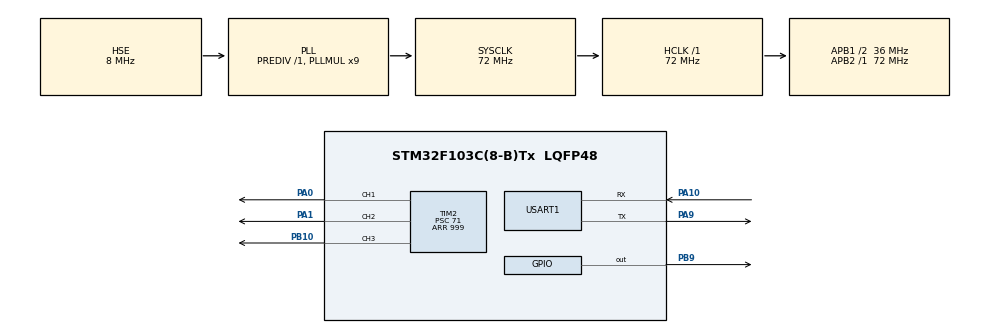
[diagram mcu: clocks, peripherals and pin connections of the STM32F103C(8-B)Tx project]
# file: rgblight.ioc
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Mcu.Family=STM32F1
RCC.PLLSourceVirtual=RCC_PLLSOURCE_HSE
PD1-OSC_OUT.Mode=HSE-External-Oscillator
PA10.Mode=Asynchronous
PD0-OSC_IN.Signal=RCC_OSC_IN
TIM2.Channel-PWM\ Generation2\ CH2=TIM_CHANNEL_2
RCC.APB1CLKDivider=RCC_HCLK_DIV2
RCC.SYSCLKSource=RCC_SYSCLKSOURCE_PLLCLK
ProjectManager.StackSize=0x400
PA0-WKUP.Signal=S_TIM2_CH1_ETR
PD1-OSC_OUT.Signal=RCC_OSC_OUT
PA13.Signal=SYS_JTMS-SWDIO
SH.S_TIM2_CH2.0=TIM2_CH2,PWM Generation2 CH2
PA9.Mode=Asynchronous
ProjectManager.TargetToolchain=STM32CubeIDE
RCC.HCLKFreq_Value=72000000
RCC.APB2TimFreq_Value=72000000
PA9.Signal=USART1_TX
RCC.USBFreq_Value=72000000
PA1.Signal=S_TIM2_CH2
RCC.AHBFreq_Value=72000000
PD0-OSC_IN.Mode=HSE-External-Oscillator
PB10.Signal=S_TIM2_CH3
board=custom
RCC.PLLMUL=RCC_PLL_MUL9
RCC.APB2Freq_Value=72000000
VP_TIM2_VS_ClockSourceINT.Mode=Internal
SH.S_TIM2_CH3.0=TIM2_CH3,PWM Generation3 CH3
PA14.Mode=Serial_Wire
NVIC.TIM2_IRQn=true\:0\:0\:false\:false\:true\:true\:true
TIM2.Channel-PWM\ Generation3\ CH3=TIM_CHANNEL_3
TIM2.Channel-PWM\ Generation1\ CH1=TIM_CHANNEL_1
TIM2.Period=999
PA13.Mode=Serial_Wire
Mcu.Name=STM32F103C(8-B)Tx
RCC.SYSCLKFreq_VALUE=72000000
Mcu.Package=LQFP48
PB9.Signal=GPIO_Output
TIM2.Prescaler=71
USART1.VirtualMode=VM_ASYNC
PB9.PinState=GPIO_PIN_SET
SH.S_TIM2_CH1_ETR.0=TIM2_CH1,PWM Generation1 CH1
PA10.Signal=USART1_RX
PA14.Signal=SYS_JTCK-SWCLK
PB9.GPIO_PuPd=GPIO_PULLUP
ProjectManager.HeapSize=0x200
NVIC.PriorityGroup=NVIC_PRIORITYGROUP_4
RCC.APB1TimFreq_Value=72000000
TIM2.AutoReloadPreload=TIM_AUTORELOAD_PRELOAD_ENABLE
NVIC.USART1_IRQn=true\:0\:0\:false\:false\:true\:true\:true
RCC.APB1Freq_Value=36000000

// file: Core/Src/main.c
/* USER CODE BEGIN Header */
/**
  ******************************************************************************
  * @file           : main.c
  * @brief          : Main program body
  ******************************************************************************
  * @attention
  *
  * <h2><center>&copy; Copyright (c) 2020 STMicroelectronics.
  * All rights reserved.</center></h2>
  *
  * This software component is licensed by ST under BSD 3-Clause license,
  * the "License"; You may not use this file except in compliance with the
  * License. You may obtain a copy of the License at:
  *                        opensource.org/licenses/BSD-3-Clause
  *
  ******************************************************************************
  */
/* USER CODE END Header */
#include "main.h"
#include "tim.h"
#include "usart.h"
#include "gpio.h"

/* USER CODE BEGIN Includes */
#include <string.h>
#include <stdio.h>
#include <stdbool.h>
#include "deal.h"

#define RXBUFFERSIZE  256     //最大接收字节数
char RxBuffer[RXBUFFERSIZE];   //接收数据
uint8_t aRxBuffer;            //接收中断缓冲
uint8_t Uart1_Rx_Cnt = 0;        //接收缓冲计数

int pwmVal = 0;
int red = 0, blue = 0, green = 0;//目标的量
int nred = 0, nblue = 0, ngreen = 0;//现在的量
int tred = 0, tblue = 0, tgreen = 0;//临时的量
bool flag = false;//true为呼吸
bool i = true;//down
int tmp;
/* USER CODE END Includes */

void SystemClock_Config(void);

int main(void) {

    /* MCU Configuration--------------------------------------------------------*/

    /* Reset of all peripherals, Initializes the Flash interface and the Systick. */
    HAL_Init();

    /* Configure the system clock */
    SystemClock_Config();

    /* Initialize all configured peripherals */
    MX_GPIO_Init();
    MX_TIM2_Init();
    MX_USART1_UART_Init();
    /* USER CODE BEGIN 2 */

    HAL_UART_Receive_IT(&huart1, (uint8_t *) &aRxBuffer, 1);
    HAL_TIM_PWM_Start(&htim2, TIM_CHANNEL_1);
    HAL_TIM_PWM_Start(&htim2, TIM_CHANNEL_2);
    HAL_TIM_PWM_Start(&htim2, TIM_CHANNEL_3);
    //htim2.Instance->CCR1 =700;//red
    //htim2.Instance->CCR2 =750;//green
    //htim2.Instance->CCR3 =999;//blue
    red = 255;
    //htim2.Instance->CCR1 = (3.91 * red);//red
    //htim2.Instance->CCR1 =;//red
    green = 180;

    //htim2.Instance->CCR2 = (3.91 * green) ;//green
    //htim2.Instance->CCR2 = green;//green
    blue = 0;

    //htim2.Instance->CCR3 = (3.91 * blue);//blue
    //htim2.Instance->CCR3 = blue;//blue

    //For test

    /* USER CODE END 2 */

    /* Infinite loop */
    /* USER CODE BEGIN WHILE */
    while (1) {

        HAL_Delay(10);
        if (flag) {
            HAL_Delay(100);
            if (i) {
                if ((nred < 13 && nred > 10) || (ngreen < 13 && nred > 10) || (nblue < 13 && nred > 10)) {
                    while (10 < nred || 10 < ngreen || 10 < nblue) {
                        if (10 < nred)
                            htim2.Instance->CCR1 = (3.91 * --nred);
                        if (10 < ngreen)
                            htim2.Instance->CCR2 = (3.91 * --ngreen);
                        if (10 < nblue)
                            htim2.Instance->CCR3 = (3.91 * --nblue);
                        HAL_Delay(10);
                    }
                    while (nred||ngreen||nblue) {
                        if (nred>0)
                            htim2.Instance->CCR1 = (3.91 * --nred);

                        if (ngreen>0)
                            htim2.Instance->CCR2 = (3.91 * --ngreen);

                        if (nblue >0)
                            htim2.Instance->CCR3 = (3.91 * --nblue);

                        HAL_Delay(10);
                    }
                     i = false;
                    nred = red;
                    ngreen = green;
                    nblue = blue;
                    HAL_Delay(1000);
                } else {
                    tred = nred / 1.2;
                    tgreen = ngreen / 1.2;
                    tblue = nblue / 1.2;
                    while (tblue != nblue || tgreen != ngreen || tred != nred) {
                        if (tred != nred)
                            htim2.Instance->CCR1 = (3.91 * --nred);
                        if (tgreen != ngreen)
                            htim2.Instance->CCR2 = (3.91 * --ngreen);
                        if (tblue != nblue)
                            htim2.Instance->CCR3 = (3.91 * --nblue);
                        HAL_Delay(20);
                    }

                }

            } else {

                if ((nred < 13 && nred > 10) || (ngreen < 13 && nred > 10) || (nblue < 13 && nred > 10)) {
                    while (10 < nred || 10 < ngreen || 10 < nblue) {
                        if (10 < nred)
                            htim2.Instance->CCR1 = (3.91 * (red - (--nred)));
                        if (10 < ngreen)
                            htim2.Instance->CCR2 = (3.91 * (green - (--ngreen)));
                        if (10 < nblue)
                            htim2.Instance->CCR3 = (3.91 * (blue - (--nblue)));
                        HAL_Delay(10);
                    }
                    while (nred||ngreen||nblue) {
                        if (nred>0)
                            htim2.Instance->CCR1 = (3.91 * (red - (--nred)));
                        if (ngreen>0)
                            htim2.Instance->CCR2 = (3.91 * (green - (--ngreen)));
                        if (nblue>0)
                            htim2.Instance->CCR3 = (3.91 * (blue - (--nblue)));
                        HAL_Delay(10);
                    }
                    nred = red;
                    ngreen = green;
                    nblue = blue;
                    i = true;
                    HAL_Delay(1000);
                } else {
                    tred = nred / 1.2;
                    tgreen = ngreen / 1.2;
                    tblue = nblue / 1.2;
                    while (tblue != nblue || tgreen != ngreen || tred != nred) {
                        if (tred != nred)
                            htim2.Instance->CCR1 = (3.91 * (red - (--nred)));
                        if (tgreen != ngreen)
                            htim2.Instance->CCR2 = (3.91 * (green - (--ngreen)));
                        if (tblue != nblue)
                            htim2.Instance->CCR3 = (3.91 * (blue - (--nblue)));
                        HAL_Delay(20);
                    }

                }
            }
        } else {

            if (red != nred) {
                if (red > nred)
                    htim2.Instance->CCR1 = (3.91 * nred++);//red
                else
                    htim2.Instance->CCR1 = (3.91 * nred--);//red
            }
            if (green != ngreen) {
                if (green > ngreen)
                    htim2.Instance->CCR2 = (3.91 * ngreen++);//green
                else
                    htim2.Instance->CCR2 = (3.91 * ngreen--);//green
            }
            if (blue != nblue) {
                if (blue > nblue)
                    htim2.Instance->CCR3 = (3.91 * nblue++);//blue
                else
                    htim2.Instance->CCR3 = (3.91 * nblue--);//blue
            }
            if (red == nred && green == ngreen && blue == nblue) {
                flag = true;
            }
        }
    }
    /* USER CODE END 3 */
}

void SystemClock_Config(void) {
    RCC_OscInitTypeDef RCC_OscInitStruct = {0};
    RCC_ClkInitTypeDef RCC_ClkInitStruct = {0};

    /** Initializes the RCC Oscillators according to the specified parameters
    * in the RCC_OscInitTypeDef structure.
    */
    RCC_OscInitStruct.OscillatorType = RCC_OSCILLATORTYPE_HSE;
    RCC_OscInitStruct.HSEState = RCC_HSE_ON;
    RCC_OscInitStruct.HSEPredivValue = RCC_HSE_PREDIV_DIV1;
    RCC_OscInitStruct.HSIState = RCC_HSI_ON;
    RCC_OscInitStruct.PLL.PLLState = RCC_PLL_ON;
    RCC_OscInitStruct.PLL.PLLSource = RCC_PLLSOURCE_HSE;
    RCC_OscInitStruct.PLL.PLLMUL = RCC_PLL_MUL9;
    if (HAL_RCC_OscConfig(&RCC_OscInitStruct) != HAL_OK) {
        Error_Handler();
    }
    /** Initializes the CPU, AHB and APB buses clocks
    */
    RCC_ClkInitStruct.ClockType = RCC_CLOCKTYPE_HCLK | RCC_CLOCKTYPE_SYSCLK
                                  | RCC_CLOCKTYPE_PCLK1 | RCC_CLOCKTYPE_PCLK2;
    RCC_ClkInitStruct.SYSCLKSource = RCC_SYSCLKSOURCE_PLLCLK;
    RCC_ClkInitStruct.AHBCLKDivider = RCC_SYSCLK_DIV1;
    RCC_ClkInitStruct.APB1CLKDivider = RCC_HCLK_DIV2;
    RCC_ClkInitStruct.APB2CLKDivider = RCC_HCLK_DIV1;

    if (HAL_RCC_ClockConfig(&RCC_ClkInitStruct, FLASH_LATENCY_2) != HAL_OK) {
        Error_Handler();
    }
}

/* USER CODE BEGIN 4 */
/* USER CODE BEGIN 4 */

void HAL_UART_RxCpltCallback(UART_HandleTypeDef *huart) {
    /* Prevent unused argument(s) compilation warning */
    UNUSED(huart);
    /* NOTE: This function Should not be modified, when the callback is needed,
             the HAL_UART_TxCpltCallback could be implemented in the user file
     */

    if (Uart1_Rx_Cnt >= 255)  //溢出判断
    {
        Uart1_Rx_Cnt = 0;
        memset(RxBuffer, 0x00, sizeof(RxBuffer));
        HAL_UART_Transmit(&huart1, (uint8_t *) "数据溢出", 10, 0xFFFF);

    } else {
        RxBuffer[Uart1_Rx_Cnt++] = aRxBuffer;   //接收数据转存

        if (RxBuffer[Uart1_Rx_Cnt - 1] == '#') //判断结束位
        {
            HAL_UART_Transmit(&huart1, (uint8_t *) &RxBuffer, Uart1_Rx_Cnt, 0xFFFF); //将收到的信息发送出去
            while (HAL_UART_GetState(&huart1) == HAL_UART_STATE_BUSY_TX);//检测UART发送结束
            char dest1[2] = {""};
            strncpy(dest1, RxBuffer, 2);
            char dest2[2] = {""};
            strncpy(dest2, RxBuffer + 2, 2);
            char dest3[2] = {""};
            strncpy(dest3, RxBuffer + 4, 2);
            if (!i) {
                nred = red - nred;
                ngreen = green - ngreen;
                nblue = blue - nblue;
            }
            sscanf(dest1, "%x", &red);
            //htim2.Instance->CCR1 = (3.1 * i);//red

            sscanf(dest2, "%x", &green);
            //htim2.Instance->CCR2 = (3.52 * i) ;//green

            sscanf(dest3, "%x", &blue);
            flag = false;
            //htim2.Instance->CCR3 = (3.91 * i);//blue
            //HAL_UART_Transmit(&huart1, (uint8_t *)&RxBuffer, sizeof(RxBuffer),0xFFFF); //将收到的信息发送出去
            //while(HAL_UART_GetState(&huart1) == HAL_UART_STATE_BUSY_TX);//检测UART发送结束
            Uart1_Rx_Cnt = 0;
            memset(RxBuffer, 0x00, sizeof(RxBuffer)); //清空数组
        }
    }

    HAL_UART_Receive_IT(&huart1, (uint8_t *) &aRxBuffer, 1);   //再开启接收中断
}

/* USER CODE END 4 */

void Error_Handler(void) {
}

/************************ (C) COPYRIGHT STMicroelectronics *****END OF FILE****/
